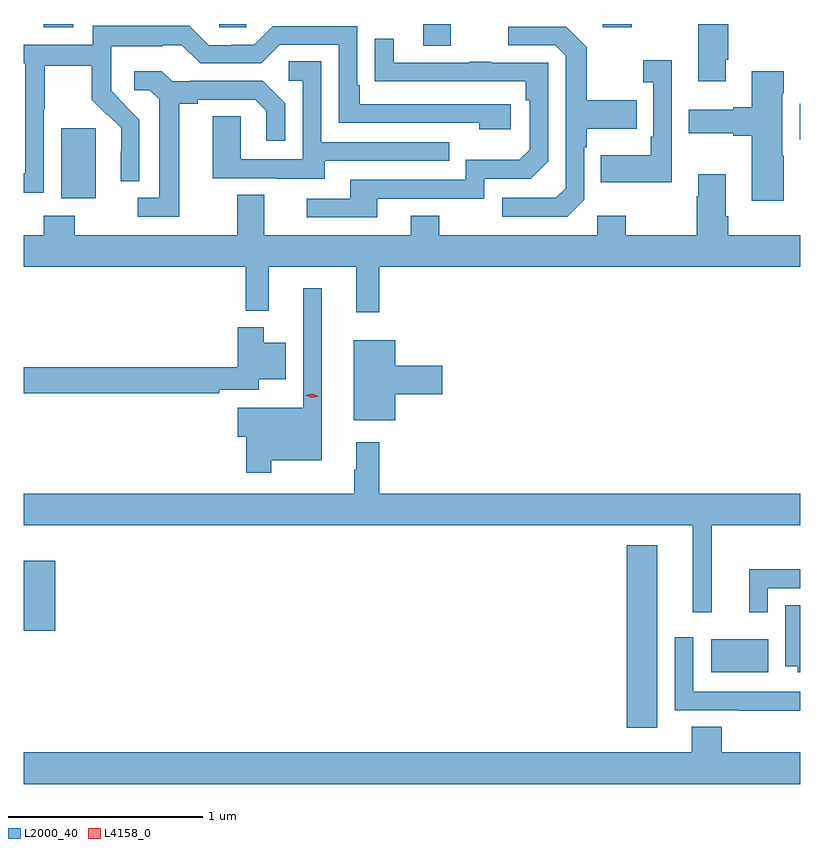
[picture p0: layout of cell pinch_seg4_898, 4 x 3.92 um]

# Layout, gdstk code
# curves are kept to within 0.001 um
import gdstk
lib = gdstk.Library(unit=1e-6, precision=1e-09)
def R(c, l, rs):  # rectangles x0, y0, x1, y1
    for r in rs: c.add(gdstk.rectangle(r[:2], r[2:], *l))
def P(c, l, *ps):  # polygons
    for p in ps: c.add(gdstk.Polygon(p, *l))
L2000_40 = (2000, 40)
L4158_0 = (4158, 0)

pinch_seg4_898 = lib.new_cell('pinch_seg4_898')
R(pinch_seg4_898, L2000_40, [(721.238,825.081,721.396,826.021), (721.673,825.368,721.966,825.538), (718.132,825.582,718.295,825.943), (718.325,827.81,718.504,828.171), (722.13,828.113,722.132,828.296), (720.191,828.594,720.331,828.707), (718.235,828.689,718.387,828.707), (721.115,828.689,721.263,828.707), (719.139,828.69,719.277,828.707)])
P(pinch_seg4_898, L2000_40, [(721.747,828.523),(721.76,828.523),(721.76,828.707),(721.607,828.707),(721.607,828.411),(721.747,828.411)],
  [(718.236,828.268),(718.239,828.268),(718.239,828.492),(718.483,828.492),(718.483,828.317),(718.56,828.24),(718.563,828.243),(718.634,828.173),(718.634,828.05),(718.632,828.05),(718.632,827.896),(718.728,827.896),(718.728,828.214),(718.582,828.362),(718.582,828.459),(718.584,828.459),(718.584,828.593),(718.847,828.593),(718.847,828.597),(718.947,828.597),(719.04,828.504),(719.355,828.504),(719.451,828.6),(719.754,828.6),(719.754,828.198),(720.479,828.198),(720.479,828.164),(720.64,828.164),(720.64,828.294),(719.863,828.294),(719.863,828.391),(719.85,828.391),(719.85,828.696),(719.415,828.696),(719.319,828.6),(719.201,828.6),(719.201,828.597),(719.085,828.597),(718.985,828.697),(718.488,828.697),(718.488,828.6),(718.132,828.6),(718.132,828.504),(718.14,828.504),(718.14,827.937),(718.132,827.937),(718.132,827.839),(718.236,827.839)],
  [(721.02,827.802),(721.02,828.071),(721.033,828.071),(721.033,828.167),(721.289,828.167),(721.289,828.315),(721.033,828.315),(721.033,828.587),(720.927,828.693),(720.627,828.693),(720.627,828.597),(720.87,828.597),(720.924,828.543),(720.924,827.862),(720.873,827.811),(720.597,827.811),(720.597,827.715),(720.933,827.715)],
  [(719.953,827.808),(720.504,827.808),(720.504,827.91),(720.744,827.91),(720.834,828),(720.834,828.507),(720.539,828.507),(720.539,828.512),(720.427,828.512),(720.427,828.507),(720.037,828.507),(720.037,828.631),(719.941,828.631),(719.941,828.412),(720.718,828.411),(720.718,828.314),(720.738,828.314),(720.738,828.06),(720.685,828.007),(720.408,828.007),(720.408,827.904),(719.813,827.904),(719.813,827.808),(719.589,827.808),(719.589,827.712),(719.953,827.712)],
  [(721.47,828.52),(721.323,828.52),(721.323,828.407),(721.374,828.407),(721.374,828.127),(721.362,828.127),(721.362,828.031),(721.105,828.031),(721.105,827.891),(721.47,827.891)],
  [(719.683,828.003),(720.323,828.003),(720.323,828.099),(719.664,828.099),(719.664,828.515),(719.496,828.515),(719.496,828.414),(719.568,828.414),(719.568,828.009),(719.25,828.009),(719.25,828.233),(719.105,828.233),(719.105,827.913),(719.429,827.913),(719.429,827.909),(719.683,827.909)],
  [(718.933,828.296),(719.029,828.296),(719.029,828.318),(719.324,828.318),(719.381,828.261),(719.381,828.105),(719.478,828.105),(719.478,828.298),(719.362,828.414),(718.99,828.414),(718.99,828.411),(718.896,828.411),(718.844,828.463),(718.701,828.463),(718.701,828.366),(718.782,828.366),(718.829,828.319),(718.829,827.811),(718.719,827.811),(718.719,827.715),(718.933,827.715)],
  [(722.046,828.029),(722.038,828.029),(722.038,828.35),(722.046,828.35),(722.046,828.463),(721.883,828.463),(721.883,828.278),(721.787,828.278),(721.787,828.265),(721.557,828.265),(721.557,828.143),(721.787,828.143),(721.787,828.131),(721.883,828.131),(721.883,827.796),(722.046,827.796)],
  [(719.963,827.456),(722.132,827.456),(722.132,827.62),(721.76,827.62),(721.76,827.716),(721.747,827.716),(721.747,827.932),(721.607,827.932),(721.607,827.819),(721.6,827.819),(721.6,827.62),(721.233,827.62),(721.233,827.719),(721.086,827.719),(721.086,827.62),(720.273,827.62),(720.273,827.719),(720.125,827.719),(720.125,827.62),(719.371,827.62),(719.371,827.828),(719.231,827.828),(719.231,827.62),(718.395,827.62),(718.395,827.719),(718.235,827.719),(718.235,827.62),(718.132,827.62),(718.132,827.456),(719.275,827.456),(719.275,827.231),(719.393,827.231),(719.393,827.456),(719.846,827.456),(719.846,827.223),(719.963,827.223)],
  [(719.407,826.46),(719.668,826.46),(719.668,827.347),(719.571,827.347),(719.571,826.729),(719.234,826.729),(719.234,826.582),(719.278,826.582),(719.278,826.395),(719.407,826.395)],
  [(719.138,826.824),(719.343,826.824),(719.343,826.877),(719.482,826.877),(719.482,827.065),(719.368,827.065),(719.368,827.146),(719.234,827.146),(719.234,826.94),(718.132,826.94),(718.132,826.804),(719.138,826.804)],
  [(720.046,826.799),(720.289,826.799),(720.289,826.946),(720.046,826.946),(720.046,827.077),(719.831,827.077),(719.831,826.667),(720.046,826.667)],
  [(721.676,826.124),(722.132,826.124),(722.132,826.288),(719.963,826.288),(719.963,826.552),(719.846,826.552),(719.846,826.412),(719.835,826.412),(719.835,826.288),(718.132,826.288),(718.132,826.124),(721.577,826.124),(721.577,825.678),(721.676,825.678)],
  [(721.965,825.801),(722.132,825.801),(722.132,825.897),(721.868,825.897),(721.868,825.678),(721.965,825.678)],
  [(722.132,825.712),(722.054,825.712),(722.054,825.398),(722.12,825.398),(722.12,825.368),(722.132,825.368)],
  [(722.132,825.267),(721.581,825.267),(721.581,825.547),(721.485,825.547),(721.485,825.171),(721.81,825.171),(721.81,825.17),(722.132,825.17)],
  [(722.132,824.956),(721.727,824.956),(721.727,825.086),(721.574,825.086),(721.574,824.956),(718.132,824.956),(718.132,824.792),(722.132,824.792)])
P(pinch_seg4_898, L4158_0, [(719.616,826.782),(719.581,826.794),(719.581,826.794),(719.581,826.794),(719.617,826.802),(719.652,826.79),(719.652,826.79),(719.652,826.79)])

lib.write_gds('pinch_seg4_898.gds')
